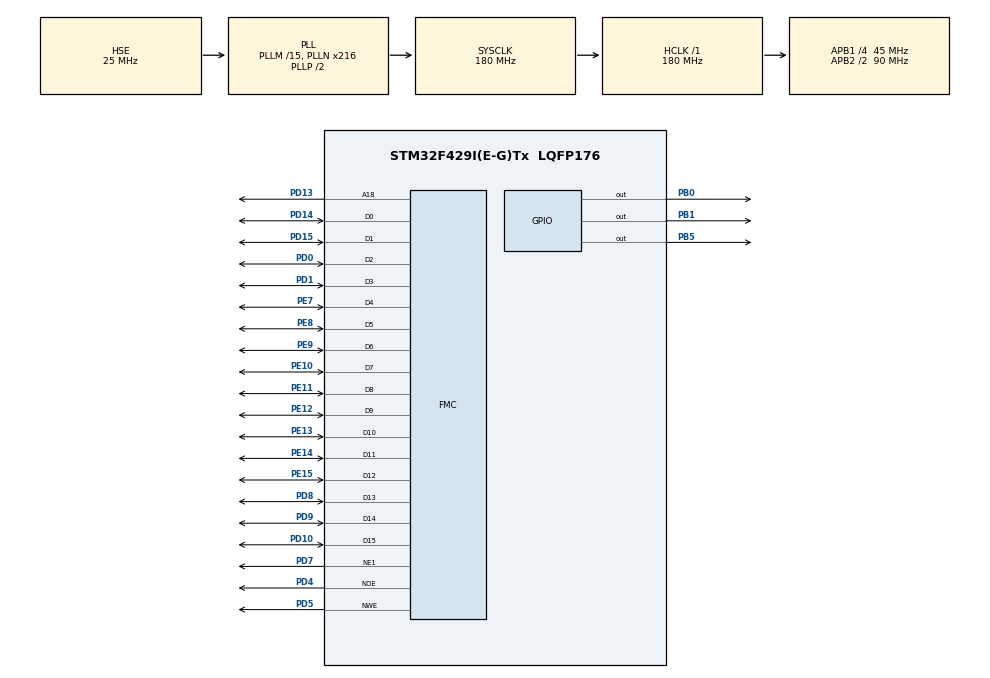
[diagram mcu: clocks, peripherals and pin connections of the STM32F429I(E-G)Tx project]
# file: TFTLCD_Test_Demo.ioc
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FMC.AddressSetupTime1=15
FMC.BusTurnAroundDuration1=0
FMC.DataSetupTime1=70
FMC.ExtendedAddressSetupTime1=15
FMC.ExtendedDataSetupTime1=15
FMC.ExtendedMode1=FMC_EXTENDED_MODE_ENABLE
Mcu.Family=STM32F4
Mcu.Name=STM32F429I(E-G)Tx
Mcu.Package=LQFP176
NVIC.PriorityGroup=NVIC_PRIORITYGROUP_4
PA13.Mode=Serial_Wire
PA13.Signal=SYS_JTMS-SWDIO
PA14.Mode=Serial_Wire
PA14.Signal=SYS_JTCK-SWCLK
PB0.Signal=GPIO_Output
PB1.Signal=GPIO_Output
PB5.Signal=GPIO_Output
PD0.Signal=FMC_D2_DA2
PD1.Signal=FMC_D3_DA3
PD10.Signal=FMC_D15_DA15
PD13.Signal=FMC_A18
PD14.Signal=FMC_D0_DA0
PD15.Signal=FMC_D1_DA1
PD4.Signal=FMC_NOE
PD5.Signal=FMC_NWE
PD7.Mode=NorPsramChipSelect1_1
PD7.Signal=FMC_NE1
PD8.Signal=FMC_D13_DA13
PD9.Signal=FMC_D14_DA14
PE10.Signal=FMC_D7_DA7
PE11.Signal=FMC_D8_DA8
PE12.Signal=FMC_D9_DA9
PE13.Signal=FMC_D10_DA10
PE14.Signal=FMC_D11_DA11
PE15.Signal=FMC_D12_DA12
PE7.Signal=FMC_D4_DA4
PE8.Signal=FMC_D5_DA5
PE9.Signal=FMC_D6_DA6
PH0/OSC_IN.Mode=HSE-External-Oscillator
PH0/OSC_IN.Signal=RCC_OSC_IN
PH1/OSC_OUT.Mode=HSE-External-Oscillator
PH1/OSC_OUT.Signal=RCC_OSC_OUT
ProjectManager.HeapSize=0x200
ProjectManager.StackSize=0x400
ProjectManager.TargetToolchain=Makefile
RCC.48MHZClocksFreq_Value=90000000
RCC.AHBFreq_Value=180000000
RCC.APB1CLKDivider=RCC_HCLK_DIV4
RCC.APB1Freq_Value=45000000
RCC.APB1TimFreq_Value=90000000
RCC.APB2CLKDivider=RCC_HCLK_DIV2
RCC.APB2Freq_Value=90000000
RCC.APB2TimFreq_Value=180000000
RCC.CortexFreq_Value=180000000
RCC.HCLKFreq_Value=180000000
RCC.HSE_VALUE=25000000
RCC.HSI_VALUE=16000000
RCC.LSE_VALUE=32768
RCC.PLLM=15
RCC.PLLN=216
RCC.PLLSourceVirtual=RCC_PLLSOURCE_HSE
RCC.SYSCLKFreq_VALUE=180000000
RCC.SYSCLKSource=RCC_SYSCLKSOURCE_PLLCLK
RCC.VCOOutputFreq_Value=360000000
SH.FMC_A18.0=FMC_A18,A18_1
SH.FMC_D0_DA0.0=FMC_D0,16b-d1
SH.FMC_D10_DA10.0=FMC_D10,16b-d1
SH.FMC_D11_DA11.0=FMC_D11,16b-d1
SH.FMC_D12_DA12.0=FMC_D12,16b-d1
SH.FMC_D13_DA13.0=FMC_D13,16b-d1
SH.FMC_D14_DA14.0=FMC_D14,16b-d1
SH.FMC_D15_DA15.0=FMC_D15,16b-d1
SH.FMC_D1_DA1.0=FMC_D1,16b-d1
SH.FMC_D2_DA2.0=FMC_D2,16b-d1
SH.FMC_D3_DA3.0=FMC_D3,16b-d1
SH.FMC_D4_DA4.0=FMC_D4,16b-d1
SH.FMC_D5_DA5.0=FMC_D5,16b-d1
SH.FMC_D6_DA6.0=FMC_D6,16b-d1
SH.FMC_D7_DA7.0=FMC_D7,16b-d1
SH.FMC_D8_DA8.0=FMC_D8,16b-d1
SH.FMC_D9_DA9.0=FMC_D9,16b-d1
SH.FMC_NOE.0=FMC_NOE,Lcd1
SH.FMC_NWE.0=FMC_NWE,Lcd1
TIM2.Prescaler=90-1
VP_TIM2_VS_ClockSourceINT.Mode=Internal
board=custom

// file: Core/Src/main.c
/* USER CODE BEGIN Header */
/**
 ******************************************************************************
 * @file           : main.c
 * @brief          : Main program body
 ******************************************************************************
 * @attention
 *
 * Copyright (c) 2024 STMicroelectronics.
 * All rights reserved.
 *
 * This software is licensed under terms that can be found in the LICENSE file
 * in the root directory of this software component.
 * If no LICENSE file comes with this software, it is provided AS-IS.
 *
 ******************************************************************************
 */
/* USER CODE END Header */
#include "main.h"
#include "tim.h"
#include "gpio.h"
#include "fmc.h"

/* USER CODE BEGIN Includes */
#include "tftlcd.h"
#include "stdlib.h"
/* USER CODE END Includes */

void SystemClock_Config(void);

int main(void)
{

    /* MCU Configuration--------------------------------------------------------*/

    /* Reset of all peripherals, Initializes the Flash interface and the Systick. */
    HAL_Init();

    /* Configure the system clock */
    SystemClock_Config();

    /* Initialize all configured peripherals */
    MX_GPIO_Init();
    MX_FMC_Init();
    MX_TIM2_Init();
    /* USER CODE BEGIN 2 */
    uint8_t x = 0;
    uint8_t lcd_id[12];
    LCD_Init();
    POINT_COLOR = RED;
    sprintf((char *)lcd_id, "LCD ID:%04X", lcddev.id);
    /* USER CODE END 2 */

    /* Infinite loop */
    while (1) {

        /* USER CODE BEGIN 3 */
        switch (x) {
            case 0:
                LCD_Clear(WHITE);
                break;
            case 1:
                LCD_Clear(BLACK);
                break;
            case 2:
                LCD_Clear(BLUE);
                break;
            case 3:
                LCD_Clear(RED);
                break;
            case 4:
                LCD_Clear(MAGENTA);
                break;
            case 5:
                LCD_Clear(GREEN);
                break;
            case 6:
                LCD_Clear(CYAN);
                break;
            case 7:
                LCD_Clear(YELLOW);
                break;
            case 8:
                LCD_Clear(BRRED);
                break;
            case 9:
                LCD_Clear(GRAY);
                break;
            case 10:
                LCD_Clear(LGRAY);
                break;
            case 11:
                LCD_Clear(BROWN);
                break;
        }
        POINT_COLOR = RED;
        LCD_ShowString(10, 40, 240, 32, 32, "Apollo STM32F4");
        LCD_ShowString(10, 80, 240, 24, 24, "TFTLCD TEST");
        LCD_ShowString(10, 110, 240, 16, 16, "ATOM@ALIENTEK");
        LCD_ShowString(10, 130, 240, 16, 16, lcd_id); // 显示LCD ID
        LCD_ShowString(10, 150, 240, 12, 12, "2016/1/6");
        x++;
        if (x == 12) {
            x = 0;
        }
        HAL_Delay(1000);
    }
    /* USER CODE END 3 */
}

void SystemClock_Config(void)
{
    RCC_OscInitTypeDef RCC_OscInitStruct = {0};
    RCC_ClkInitTypeDef RCC_ClkInitStruct = {0};

    /** Configure the main internal regulator output voltage
     */
    __HAL_RCC_PWR_CLK_ENABLE();
    __HAL_PWR_VOLTAGESCALING_CONFIG(PWR_REGULATOR_VOLTAGE_SCALE1);

    /** Initializes the RCC Oscillators according to the specified parameters
     * in the RCC_OscInitTypeDef structure.
     */
    RCC_OscInitStruct.OscillatorType = RCC_OSCILLATORTYPE_HSE;
    RCC_OscInitStruct.HSEState       = RCC_HSE_ON;
    RCC_OscInitStruct.PLL.PLLState   = RCC_PLL_ON;
    RCC_OscInitStruct.PLL.PLLSource  = RCC_PLLSOURCE_HSE;
    RCC_OscInitStruct.PLL.PLLM       = 15;
    RCC_OscInitStruct.PLL.PLLN       = 216;
    RCC_OscInitStruct.PLL.PLLP       = RCC_PLLP_DIV2;
    RCC_OscInitStruct.PLL.PLLQ       = 4;
    if (HAL_RCC_OscConfig(&RCC_OscInitStruct) != HAL_OK) {
        Error_Handler();
    }

    /** Activate the Over-Drive mode
     */
    if (HAL_PWREx_EnableOverDrive() != HAL_OK) {
        Error_Handler();
    }

    /** Initializes the CPU, AHB and APB buses clocks
     */
    RCC_ClkInitStruct.ClockType      = RCC_CLOCKTYPE_HCLK | RCC_CLOCKTYPE_SYSCLK | RCC_CLOCKTYPE_PCLK1 | RCC_CLOCKTYPE_PCLK2;
    RCC_ClkInitStruct.SYSCLKSource   = RCC_SYSCLKSOURCE_PLLCLK;
    RCC_ClkInitStruct.AHBCLKDivider  = RCC_SYSCLK_DIV1;
    RCC_ClkInitStruct.APB1CLKDivider = RCC_HCLK_DIV4;
    RCC_ClkInitStruct.APB2CLKDivider = RCC_HCLK_DIV2;

    if (HAL_RCC_ClockConfig(&RCC_ClkInitStruct, FLASH_LATENCY_5) != HAL_OK) {
        Error_Handler();
    }
}

void Error_Handler(void)
{
    __disable_irq();
    while (1) {
    }
}
